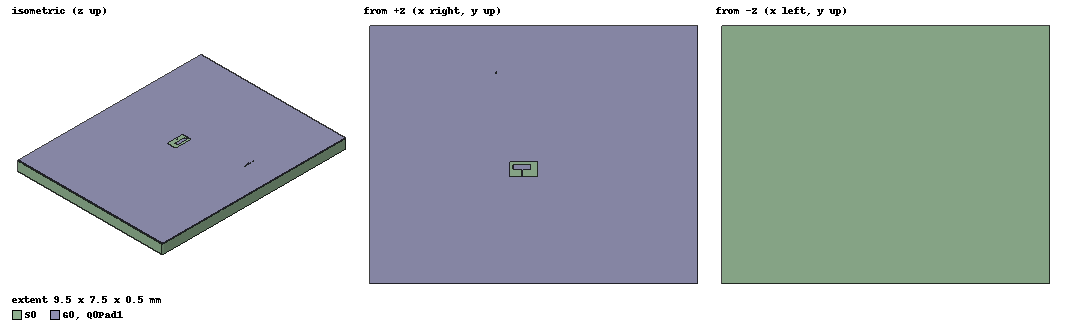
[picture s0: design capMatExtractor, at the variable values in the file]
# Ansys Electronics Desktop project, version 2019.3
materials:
  vacuum: permittivity=1
  copper: permeability=0.999991 conductivity=58000000
  silicon: permittivity=11.9
  perfect conductor: conductivity=1e+30

design capMatExtractor (Q3D Extractor, model units mm)
options: SParamCalcMethod=EqTransLine Calculate_Lossy_Dielectrics
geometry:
  S0 [silicon] = polyline(z=0um, xy in um: (-4750, -3750) (-4750, 3750) (4750, 3750) (4750, -3750) (-4750, -3750), closed, covered)
  S0.sweep_along_vector((0mm, 0mm, 500um))
  G0 [perfect conductor] = polyline(z=500um, xy in um: (-4750, -3750) (-4750, 3750) (4750, 3750) (4750, -3750) (-4750, -3750), closed, covered)
  Q0Pad1 [perfect conductor] = polyline(z=500um, xy in um: (-581, -440) (-581, -300) (-81, -300) (-81, -440) (-329, -440) (-329, -536) (-333, -536) (-333, -440) (-581, -440), closed, covered)
  Q0Pad1TrenchComponent = polyline(z=499.9um, xy in um: (-581, -440) (-581, -300) (-81, -300) (-81, -440) (-329, -440) (-329, -536) (-333, -536) (-333, -440) (-581, -440), closed, covered)
  Q0Pad1TrenchPeriphery0 = polyline(z=499.9um, xy in um: (-681, -640) (-681, -200) (119, -200) (119, -640) (-681, -640), closed, covered)
  Q0Pad1TrenchPeriphery1 = polyline(z=499.9um, xy in um: (-333, -536) (-333, -440) (-329, -440) (-329, -536) (-333, -536), closed, covered)
  Q0Pad1TrenchPeriphery0.sweep_along_vector((0mm, 0mm, 0.1um))
  S0.subtract(Q0Pad1TrenchPeriphery0)
  Q0Pad1TrenchPeriphery1.sweep_along_vector((0mm, 0mm, 0.1um))
  S0.subtract(Q0Pad1TrenchPeriphery1)
  Q0Pad1periphery0 = polyline(z=500um, xy in um: (-681, -640) (-681, -200) (119, -200) (119, -640) (-681, -640), closed, covered)
  G0.subtract(Q0Pad1periphery0)
  Q0Pad1periphery1 = polyline(z=500um, xy in um: (-333, -536) (-333, -440) (-329, -440) (-329, -536) (-333, -536), closed, covered)
  G0.subtract(Q0Pad1periphery1)
  Q0Pad2 = polyline(z=500um, xy in um: (-329, -544) (-329, -640) (-333, -640) (-333, -544) (-329, -544), closed, covered)
  Q0Pad2TrenchComponent = polyline(z=499.9um, xy in um: (-329, -544) (-329, -640) (-333, -640) (-333, -544) (-329, -544), closed, covered)
  Q0Pad2TrenchPeriphery0 = polyline(z=499.9um, xy in um: (-229, -544) (-229, -640) (-533, -640) (-533, -544) (-229, -544), closed, covered)
  Q0Pad2TrenchPeriphery0.sweep_along_vector((0mm, 0mm, 0.1um))
  S0.subtract(Q0Pad2TrenchPeriphery0)
  Q0Pad2periphery0 = polyline(z=500um, xy in um: (-229, -544) (-229, -640) (-533, -640) (-533, -544) (-229, -544), closed, covered)
  G0.subtract(Q0Pad2periphery0)
  R0Pad1 [perfect conductor] = polyline(z=500um, xy in um: (-1295.54, 2396) (-1295.54, 2406) (-895.54, 2406) (-895.54, 2396) (-1090.54, 2396) (-1090.54, 2346) (-1100.54, 2346) (-1100.54, 2396) (-1295.54, 2396), closed, covered)
  R0Pad1TrenchComponent = polyline(z=499.9um, xy in um: (-1295.54, 2396) (-1295.54, 2406) (-895.54, 2406) (-895.54, 2396) (-1090.54, 2396) (-1090.54, 2346) (-1100.54, 2346) (-1100.54, 2396) (-1295.54, 2396), closed, covered)
  R0Pad1TrenchPeriphery0 = polyline(z=499.9um, xy in um: (-1319.54, 2390) (-1319.54, 2412) (-871.54, 2412) (-871.54, 2390) (-1319.54, 2390), closed, covered)
  R0Pad1TrenchPeriphery1 = polyline(z=499.9um, xy in um: (-1106.54, 2340) (-1106.54, 2402) (-1084.54, 2402) (-1084.54, 2340) (-1106.54, 2340), closed, covered)
  R0Pad1TrenchPeriphery0.sweep_along_vector((0mm, 0mm, 0.1um))
  S0.subtract(R0Pad1TrenchPeriphery0)
  R0Pad1TrenchPeriphery1.sweep_along_vector((0mm, 0mm, 0.1um))
  S0.subtract(R0Pad1TrenchPeriphery1)
  R0Pad1periphery0 = polyline(z=500um, xy in um: (-1319.54, 2390) (-1319.54, 2412) (-871.54, 2412) (-871.54, 2390) (-1319.54, 2390), closed, covered)
  G0.subtract(R0Pad1periphery0)
  R0Pad1periphery1 = polyline(z=500um, xy in um: (-1106.54, 2340) (-1106.54, 2402) (-1084.54, 2402) (-1084.54, 2340) (-1106.54, 2340), closed, covered)
  G0.subtract(R0Pad1periphery1)
  R0Pad2 [perfect conductor] = polyline(z=500um, xy in um: (-619.01487, -300.56622) (-589.01487, -300.56911) (-589.0245, -400.56911) (-619.0245, -400.56622) (-619.02017, -355.56622) (-669.02017, -355.5614) (-669.0192, -345.5614) (-619.0192, -345.56622) (-619.01487, -300.56622), closed, covered)
  R0Pad2TrenchComponent = polyline(z=499.9um, xy in um: (-619.01487, -300.56622) (-589.01487, -300.56911) (-589.0245, -400.56911) (-619.0245, -400.56622) (-619.02017, -355.56622) (-669.02017, -355.5614) (-669.0192, -345.5614) (-619.0192, -345.56622) (-619.01487, -300.56622), closed, covered)
  R0Pad2TrenchPeriphery0 = polyline(z=499.9um, xy in um: (-649.01198, -270.56333) (-559.01198, -270.572) (-559.02739, -430.572) (-649.02739, -430.56333) (-649.01198, -270.56333), closed, covered)
  R0Pad2TrenchPeriphery1 = polyline(z=499.9um, xy in um: (-675.01862, -339.56083) (-613.01862, -339.5668) (-613.02074, -361.5668) (-675.02074, -361.56083) (-675.01862, -339.56083), closed, covered)
  R0Pad2TrenchPeriphery0.sweep_along_vector((0mm, 0mm, 0.1um))
  S0.subtract(R0Pad2TrenchPeriphery0)
  R0Pad2TrenchPeriphery1.sweep_along_vector((0mm, 0mm, 0.1um))
  S0.subtract(R0Pad2TrenchPeriphery1)
  R0Pad2periphery0 = polyline(z=500um, xy in um: (-649.01198, -270.56333) (-559.01198, -270.572) (-559.02739, -430.572) (-649.02739, -430.56333) (-649.01198, -270.56333), closed, covered)
  G0.subtract(R0Pad2periphery0)
  R0Pad2periphery1 = polyline(z=500um, xy in um: (-675.01862, -339.56083) (-613.01862, -339.5668) (-613.02074, -361.5668) (-675.02074, -361.56083) (-675.01862, -339.56083), closed, covered)
  G0.subtract(R0Pad2periphery1)
  Q0Pad1TrenchComponent.sweep_along_vector((0mm, 0mm, 0.1um))
  S0.unite(Q0Pad1TrenchComponent)
  Q0Pad2TrenchComponent.sweep_along_vector((0mm, 0mm, 0.1um))
  S0.unite(Q0Pad2TrenchComponent)
  R0Pad1TrenchComponent.sweep_along_vector((0mm, 0mm, 0.1um))
  S0.unite(R0Pad1TrenchComponent)
  R0Pad2TrenchComponent.sweep_along_vector((0mm, 0mm, 0.1um))
  S0.unite(R0Pad2TrenchComponent)
  G0.unite(Q0Pad2)
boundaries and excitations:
  ThinCondQ0Pad1: ThinConductor Objects=Q0Pad1 Material="perfect conductor" Thickness=0.1um
  ThinCondR0Pad1: ThinConductor Objects=R0Pad1 Material="perfect conductor" Thickness=0.1um
  ThinCondR0Pad2: ThinConductor Objects=R0Pad2 Material="perfect conductor" Thickness=0.1um
  ThinCondG0: ThinConductor Objects=G0 Material="perfect conductor" Thickness=0.1um
  Q0Pad1: SignalNet Objects=Q0Pad1
  R0Pad1: SignalNet Objects=R0Pad1
  R0Pad2: SignalNet Objects=R0Pad2
  GroundNet1: GroundNet Objects=G0
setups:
  capSim: Matrix AdaptiveFreq=5GHz Cap{MaxPass=99 MinPass=1 MinConvPass=1 PerError=1 PerRefine=100 AutoIncreaseSolutionOrder SolutionOrder=High Solver_Type=Iterative}
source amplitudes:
  Q0Pad1: Cap 1V 0deg
  R0Pad1, R0Pad2: Cap 0V 0deg
